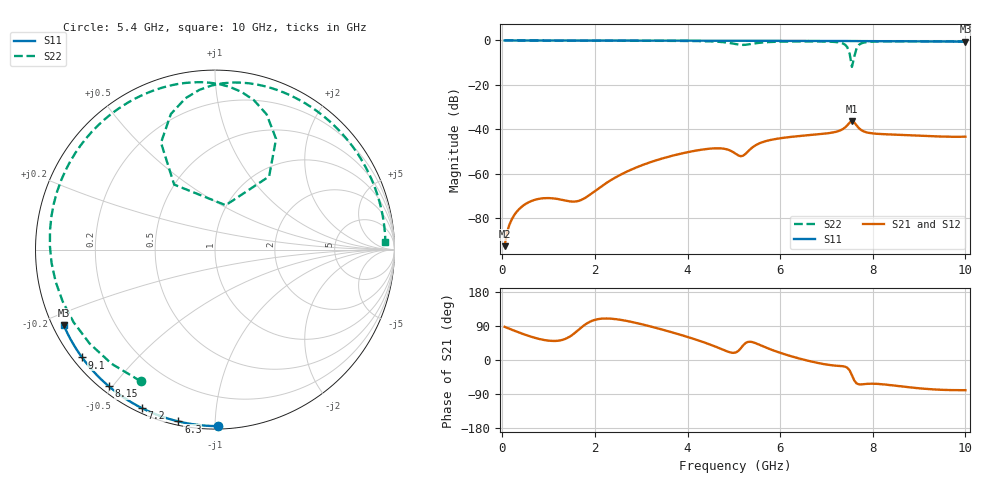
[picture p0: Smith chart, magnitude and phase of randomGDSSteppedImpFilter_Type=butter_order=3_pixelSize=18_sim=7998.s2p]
! freq	dB(S11)	phase(S11)	dB(S12)	phase(S12)
!  dB(S21)	phase(S21)	dB(S22)	phase(S22)
!S-par simulation data
#  GHz  S  DB  R 50
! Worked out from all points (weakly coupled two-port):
!   200 points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, 50 MHz to 10 GHz, reference 50 ohm
!   highest |S21| = -36.31 dB at 7.55 GHz (marker M1); lowest = -92.6 dB at 50 MHz (marker M2)
!   lowest |S11| = -0.5 dB at 10 GHz (marker M3), VSWR 33.56, Z = 1.57 - j11.8 ohm
!   |S11| at or under -10 dB: nowhere
!   |S22| runs from -11.9 to 0.0 dB; largest |S21 - S12| = 0
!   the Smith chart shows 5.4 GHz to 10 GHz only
!   S11 on the Smith chart (normalised r, x): 5.4 GHz: 0.02, -1.02; 6.3 GHz: 0.02, -0.81; 7.2 GHz: 0.02, -0.64; 8.15 GHz: 0.02, -0.49; 9.1 GHz: 0.03, -0.35; 10 GHz: 0.03, -0.24
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0.05  -0.00 -0.9  -92.57 87.5  -92.57 87.5  -0.00 -4.1
0.85  -0.02 -15.0  -71.09 54.1  -71.09 54.1  -0.08 -65.8
1.75  -0.04 -30.6  -71.32 90.0  -71.32 90.0  -0.11 -119.7
3.4  -0.08 -58.0  -53.45 82.1  -53.45 82.1  -0.17 168.7
4.15  -0.10 -69.9  -49.68 55.1  -49.68 55.1  -0.27 132.8
4.65  -0.11 -77.7  -48.52 33.0  -48.52 33.0  -0.56 91.5
4.85  -0.12 -80.7  -49.01 23.0  -49.01 23.0  -0.94 60.3
5.05  -0.13 -83.7  -51.13 20.3  -51.13 20.3  -1.65 6.9
5.25  -0.14 -86.7  -51.07 44.5  -51.07 44.5  -1.95 -69.9
5.4  -0.14 -88.9  -48.17 47.3  -48.17 47.3  -1.49 -119.4
5.7  -0.16 -93.4  -45.25 32.6  -45.25 32.6  -0.78 -175.3
6.3  -0.19 -102.0  -43.25 7.7  -43.25 7.7  -0.45 136.3
6.7  -0.21 -107.7  -42.46 -4.8  -42.46 -4.8  -0.43 115.4
7.2  -0.24 -114.7  -41.14 -15.0  -41.14 -15.0  -0.71 88.3
7.45  -0.26 -118.2  -38.17 -20.4  -38.17 -20.4  -3.05 61.1
7.55  -0.27 -119.6  -36.31 -40.1  -36.31 -40.1  -11.89 76.5
7.65  -0.28 -121.0  -38.23 -61.8  -38.23 -61.8  -3.51 116.8
7.8  -0.29 -123.1  -40.89 -63.8  -40.89 -63.8  -0.97 95.6
8.15  -0.32 -127.9  -42.08 -63.5  -42.08 -63.5  -0.43 73.3
8.35  -0.34 -130.6  -42.28 -65.8  -42.28 -65.8  -0.39 64.4
9.1  -0.41 -140.9  -42.95 -75.7  -42.95 -75.7  -0.37 35.3
10  -0.52 -153.4  -43.30 -79.6  -43.30 -79.6  -0.44 2.7
